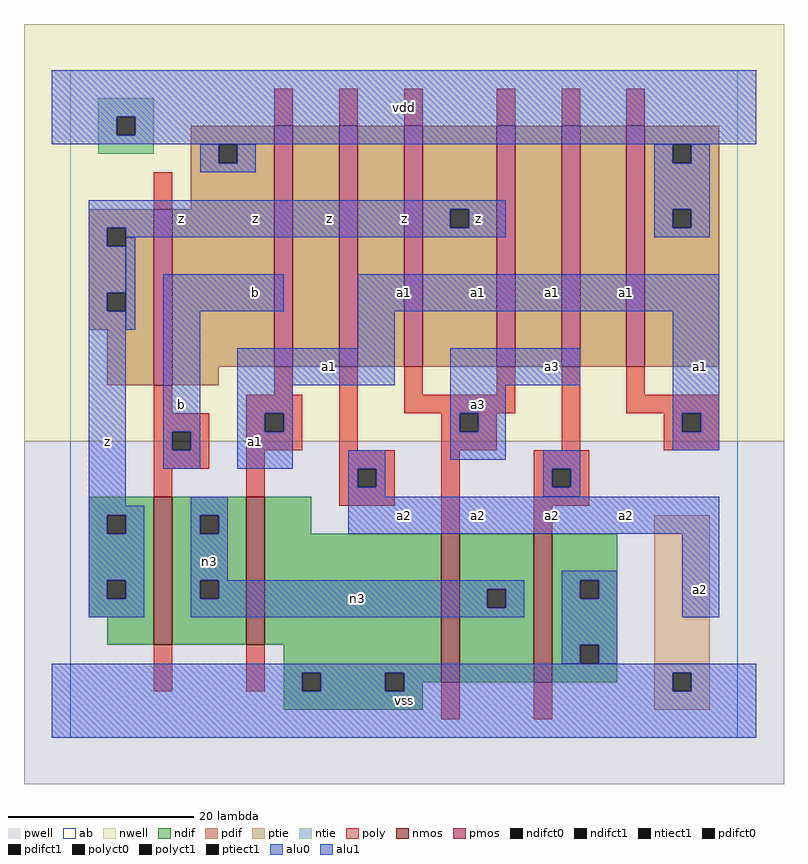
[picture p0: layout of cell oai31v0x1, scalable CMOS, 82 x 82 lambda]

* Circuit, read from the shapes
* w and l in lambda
.subckt oai31v0x1 a1 a2 a3 b n3 vdd vss z
M1 n3 b z vss nfet w=16 l=2
M2 vss a1 n3 vss nfet w=16 l=2
M3 n3 a3 vss vss nfet w=16 l=2
M4 vss a2 n3 vss nfet w=16 l=2
M5 vdd b z vdd pfet w=19 l=2
M6 n1 a1 vdd vdd pfet w=26 l=2
M7 n2 a2 n1 vdd pfet w=26 l=2
M8 z a3 n2 vdd pfet w=26 l=2
M9 n4 a3 z vdd pfet w=26 l=2
M10 n5 a2 n4 vdd pfet w=26 l=2
M11 vdd a1 n5 vdd pfet w=26 l=2
.ends

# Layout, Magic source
magic
tech scmos
<< ab >>
rect 0 0 72 72
<< nwell >>
rect -5 32 77 77
<< pwell >>
rect -5 -5 77 32
<< poly >>
rect 22 66 24 70
rect 29 66 31 70
rect 36 66 38 70
rect 46 66 48 70
rect 53 66 55 70
rect 60 66 62 70
rect 9 57 11 61
rect 9 35 11 38
rect 22 37 24 40
rect 19 35 25 37
rect 9 33 15 35
rect 9 31 11 33
rect 13 31 15 33
rect 9 29 15 31
rect 19 33 21 35
rect 23 33 25 35
rect 19 31 25 33
rect 29 31 31 40
rect 36 37 38 40
rect 46 37 48 40
rect 36 35 48 37
rect 40 33 42 35
rect 44 33 46 35
rect 40 31 46 33
rect 53 31 55 40
rect 60 37 62 40
rect 60 35 70 37
rect 64 33 66 35
rect 68 33 70 35
rect 64 31 70 33
rect 9 26 11 29
rect 19 26 21 31
rect 29 29 35 31
rect 29 27 31 29
rect 33 27 35 29
rect 29 25 35 27
rect 40 22 42 31
rect 50 29 56 31
rect 50 27 52 29
rect 54 27 56 29
rect 50 25 56 27
rect 50 22 52 25
rect 9 5 11 10
rect 19 5 21 10
rect 40 2 42 6
rect 50 2 52 6
<< ndif >>
rect 2 24 9 26
rect 2 22 4 24
rect 6 22 9 24
rect 2 17 9 22
rect 2 15 4 17
rect 6 15 9 17
rect 2 13 9 15
rect 4 10 9 13
rect 11 24 19 26
rect 11 22 14 24
rect 16 22 19 24
rect 11 17 19 22
rect 11 15 14 17
rect 16 15 19 17
rect 11 10 19 15
rect 21 22 26 26
rect 21 10 40 22
rect 23 7 40 10
rect 23 5 25 7
rect 27 5 34 7
rect 36 6 40 7
rect 42 16 50 22
rect 42 14 45 16
rect 47 14 50 16
rect 42 6 50 14
rect 52 17 59 22
rect 52 15 55 17
rect 57 15 59 17
rect 52 10 59 15
rect 52 8 55 10
rect 57 8 59 10
rect 52 6 59 8
rect 36 5 38 6
rect 23 3 38 5
<< pdif >>
rect 13 64 22 66
rect 13 62 16 64
rect 18 62 22 64
rect 13 57 22 62
rect 2 55 9 57
rect 2 53 4 55
rect 6 53 9 55
rect 2 48 9 53
rect 2 46 4 48
rect 6 46 9 48
rect 2 44 9 46
rect 4 38 9 44
rect 11 40 22 57
rect 24 40 29 66
rect 31 40 36 66
rect 38 57 46 66
rect 38 55 41 57
rect 43 55 46 57
rect 38 40 46 55
rect 48 40 53 66
rect 55 40 60 66
rect 62 64 70 66
rect 62 62 65 64
rect 67 62 70 64
rect 62 57 70 62
rect 62 55 65 57
rect 67 55 70 57
rect 62 40 70 55
rect 11 38 16 40
<< alu1 >>
rect -2 67 74 72
rect -2 65 5 67
rect 7 65 74 67
rect -2 64 74 65
rect 2 57 47 58
rect 2 55 41 57
rect 43 55 47 57
rect 2 53 4 55
rect 6 54 47 55
rect 2 48 6 53
rect 2 46 4 48
rect 2 25 6 46
rect 10 46 23 50
rect 31 46 70 50
rect 10 33 14 46
rect 31 42 35 46
rect 10 31 11 33
rect 13 31 14 33
rect 10 29 14 31
rect 18 38 35 42
rect 41 38 55 42
rect 18 35 24 38
rect 18 33 21 35
rect 23 33 24 35
rect 18 29 24 33
rect 41 35 47 38
rect 41 33 42 35
rect 44 33 47 35
rect 30 29 34 31
rect 41 30 47 33
rect 65 35 70 46
rect 65 33 66 35
rect 68 33 70 35
rect 65 31 70 33
rect 30 27 31 29
rect 33 27 34 29
rect 30 26 34 27
rect 2 24 8 25
rect 2 22 4 24
rect 6 22 8 24
rect 2 17 8 22
rect 2 15 4 17
rect 6 15 8 17
rect 2 13 8 15
rect 30 22 70 26
rect 66 13 70 22
rect -2 7 74 8
rect -2 5 25 7
rect 27 5 34 7
rect 36 5 65 7
rect 67 5 74 7
rect -2 0 74 5
<< ptie >>
rect 63 7 69 24
rect 63 5 65 7
rect 67 5 69 7
rect 63 3 69 5
<< ntie >>
rect 3 67 9 69
rect 3 65 5 67
rect 7 65 9 67
rect 3 63 9 65
<< nmos >>
rect 9 10 11 26
rect 19 10 21 26
rect 40 6 42 22
rect 50 6 52 22
<< pmos >>
rect 9 38 11 57
rect 22 40 24 66
rect 29 40 31 66
rect 36 40 38 66
rect 46 40 48 66
rect 53 40 55 66
rect 60 40 62 66
<< polyct0 >>
rect 52 27 54 29
<< polyct1 >>
rect 11 31 13 33
rect 21 33 23 35
rect 42 33 44 35
rect 66 33 68 35
rect 31 27 33 29
<< ndifct0 >>
rect 14 22 16 24
rect 14 15 16 17
rect 45 14 47 16
rect 55 15 57 17
rect 55 8 57 10
<< ndifct1 >>
rect 4 22 6 24
rect 4 15 6 17
rect 25 5 27 7
rect 34 5 36 7
<< ntiect1 >>
rect 5 65 7 67
<< ptiect1 >>
rect 65 5 67 7
<< pdifct0 >>
rect 16 62 18 64
rect 65 62 67 64
rect 65 55 67 57
<< pdifct1 >>
rect 4 53 6 55
rect 4 46 6 48
rect 41 55 43 57
<< alu0 >>
rect 14 62 16 64
rect 18 62 20 64
rect 14 61 20 62
rect 63 62 65 64
rect 67 62 69 64
rect 63 57 69 62
rect 63 55 65 57
rect 67 55 69 57
rect 63 54 69 55
rect 6 44 7 54
rect 51 29 55 31
rect 51 27 52 29
rect 54 27 55 29
rect 51 26 55 27
rect 13 24 17 26
rect 13 22 14 24
rect 16 22 17 24
rect 13 17 17 22
rect 53 17 59 18
rect 13 15 14 17
rect 16 16 49 17
rect 16 15 45 16
rect 13 14 45 15
rect 47 14 49 16
rect 13 13 49 14
rect 53 15 55 17
rect 57 15 59 17
rect 53 10 59 15
rect 53 8 55 10
rect 57 8 59 10
<< labels >>
rlabel alu0 15 19 15 19 6 n3
rlabel alu0 31 15 31 15 6 n3
rlabel alu1 4 32 4 32 6 z
rlabel alu1 20 32 20 32 6 a1
rlabel alu1 12 36 12 36 6 b
rlabel alu1 20 48 20 48 6 b
rlabel alu1 20 56 20 56 6 z
rlabel alu1 12 56 12 56 6 z
rlabel alu1 36 4 36 4 6 vss
rlabel alu1 36 24 36 24 6 a2
rlabel alu1 28 40 28 40 6 a1
rlabel alu1 36 48 36 48 6 a1
rlabel alu1 36 56 36 56 6 z
rlabel alu1 28 56 28 56 6 z
rlabel alu1 36 68 36 68 6 vdd
rlabel alu1 44 24 44 24 6 a2
rlabel alu1 52 24 52 24 6 a2
rlabel alu1 44 36 44 36 6 a3
rlabel alu1 52 40 52 40 6 a3
rlabel alu1 44 48 44 48 6 a1
rlabel alu1 52 48 52 48 6 a1
rlabel alu1 44 56 44 56 6 z
rlabel alu1 68 16 68 16 6 a2
rlabel alu1 60 24 60 24 6 a2
rlabel alu1 68 40 68 40 6 a1
rlabel alu1 60 48 60 48 6 a1
<< end >>
